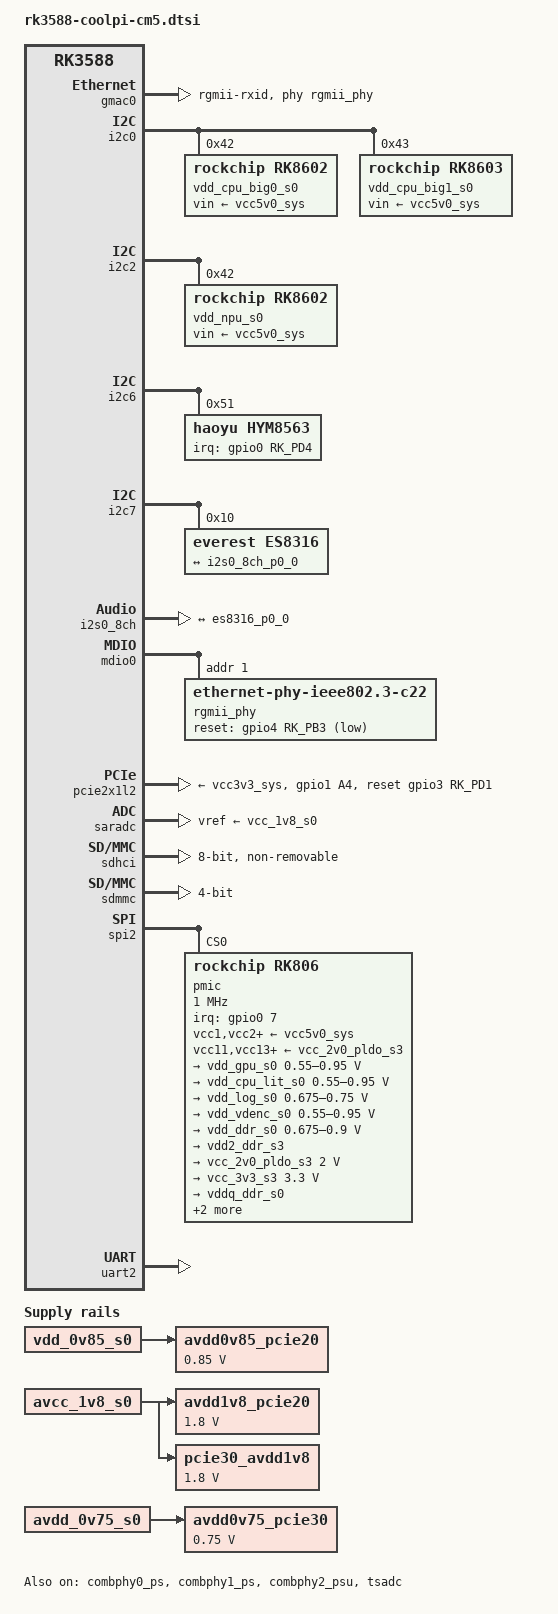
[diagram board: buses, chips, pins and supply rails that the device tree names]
// SPDX-License-Identifier: (GPL-2.0+ OR MIT)
/*
 * Copyright (c) 2023 Rockchip Electronics Co., Ltd.
 *
 */

/dts-v1/;

#include <dt-bindings/gpio/gpio.h>
#include <dt-bindings/pwm/pwm.h>
#include <dt-bindings/pinctrl/rockchip.h>
#include "rk3588.dtsi"

/ {
	compatible = "coolpi,pi-cm5", "rockchip,rk3588";

	aliases {
		mmc0 = &sdhci;
		mmc1 = &sdmmc;
		mmc2 = &sdio;
		serial2 = &uart2;
	};

	analog-sound {
		compatible = "audio-graph-card";
		dais = <&i2s0_8ch_p0>;
		label = "rk3588-es8316";
		routing = "MIC2", "Mic Jack",
			  "Headphones", "HPOL",
			  "Headphones", "HPOR";
		widgets = "Microphone", "Mic Jack",
			  "Headphone", "Headphones";
	};

	chosen {
		stdout-path = "serial2:1500000n8";
	};

	avdd0v85_pcie20: avdd0v85-pcie20-regulator {
		compatible = "regulator-fixed";
		regulator-name = "avdd0v85_pcie20";
		regulator-boot-on;
		regulator-always-on;
		regulator-min-microvolt = <850000>;
		regulator-max-microvolt = <850000>;
		vin-supply = <&vdd_0v85_s0>;
	};

	avdd1v8_pcie20: avdd1v8-pcie20-regulator {
		compatible = "regulator-fixed";
		regulator-name = "avdd1v8_pcie20";
		regulator-boot-on;
		regulator-always-on;
		regulator-min-microvolt = <1800000>;
		regulator-max-microvolt = <1800000>;
		vin-supply = <&avcc_1v8_s0>;
	};

	avdd0v75_pcie30: avdd0v75-pcie30-regulator {
		compatible = "regulator-fixed";
		regulator-name = "avdd0v75_pcie30";
		regulator-boot-on;
		regulator-always-on;
		regulator-min-microvolt = <750000>;
		regulator-max-microvolt = <750000>;
		vin-supply = <&avdd_0v75_s0>;
	};

	pcie30_avdd1v8: avdd1v8-pcie30-regulator {
		compatible = "regulator-fixed";
		regulator-name = "pcie30_avdd1v8";
		regulator-boot-on;
		regulator-always-on;
		regulator-min-microvolt = <1800000>;
		regulator-max-microvolt = <1800000>;
		vin-supply = <&avcc_1v8_s0>;
	};
};

&combphy0_ps {
	status = "okay";
};

&combphy1_ps {
	status = "okay";
};

&combphy2_psu {
	status = "okay";
};

&cpu_b0 {
	cpu-supply = <&vdd_cpu_big0_s0>;
};

&cpu_b1 {
	cpu-supply = <&vdd_cpu_big0_s0>;
};

&cpu_b2 {
	cpu-supply = <&vdd_cpu_big1_s0>;
};

&cpu_b3 {
	cpu-supply = <&vdd_cpu_big1_s0>;
};

&cpu_l0 {
	cpu-supply = <&vdd_cpu_lit_s0>;
};

&cpu_l1 {
	cpu-supply = <&vdd_cpu_lit_s0>;
};

&cpu_l2 {
	cpu-supply = <&vdd_cpu_lit_s0>;
};

&cpu_l3 {
	cpu-supply = <&vdd_cpu_lit_s0>;
};

&gmac0 {
	clock_in_out = "output";
	phy-handle = <&rgmii_phy>;
	phy-mode = "rgmii-rxid";
	pinctrl-0 = <&gmac0_miim
		     &gmac0_tx_bus2
		     &gmac0_rx_bus2
		     &gmac0_rgmii_clk
		     &gmac0_rgmii_bus>;
	pinctrl-names = "default";
	rx_delay = <0x00>;
	tx_delay = <0x43>;
	status = "okay";
};

&i2c0 {
	pinctrl-0 = <&i2c0m2_xfer>;
	status = "okay";

	vdd_cpu_big0_s0: regulator@42 {
		compatible = "rockchip,rk8602";
		reg = <0x42>;
		fcs,suspend-voltage-selector = <1>;
		regulator-name = "vdd_cpu_big0_s0";
		regulator-always-on;
		regulator-boot-on;
		regulator-min-microvolt = <550000>;
		regulator-max-microvolt = <1050000>;
		regulator-ramp-delay = <2300>;
		vin-supply = <&vcc5v0_sys>;

		regulator-state-mem {
			regulator-off-in-suspend;
		};
	};

	vdd_cpu_big1_s0: regulator@43 {
		compatible = "rockchip,rk8603", "rockchip,rk8602";
		reg = <0x43>;
		fcs,suspend-voltage-selector = <1>;
		regulator-name = "vdd_cpu_big1_s0";
		regulator-always-on;
		regulator-boot-on;
		regulator-min-microvolt = <550000>;
		regulator-max-microvolt = <1050000>;
		regulator-ramp-delay = <2300>;
		vin-supply = <&vcc5v0_sys>;

		regulator-state-mem {
			regulator-off-in-suspend;
		};
	};
};

&i2c2 {
	status = "okay";

	vdd_npu_s0: regulator@42 {
		compatible = "rockchip,rk8602";
		reg = <0x42>;
		fcs,suspend-voltage-selector = <1>;
		regulator-name = "vdd_npu_s0";
		regulator-always-on;
		regulator-boot-on;
		regulator-min-microvolt = <550000>;
		regulator-max-microvolt = <950000>;
		regulator-ramp-delay = <2300>;
		vin-supply = <&vcc5v0_sys>;

		regulator-state-mem {
			regulator-off-in-suspend;
		};
	};
};

&i2c6 {
	status = "okay";

	hym8563: rtc@51 {
		compatible = "haoyu,hym8563";
		reg = <0x51>;
		interrupt-parent = <&gpio0>;
		interrupts = <RK_PD4 IRQ_TYPE_LEVEL_LOW>;
		#clock-cells = <0>;
		clock-output-names = "hym8563";
		pinctrl-names = "default";
		pinctrl-0 = <&hym8563_int>;
		wakeup-source;
	};
};

&i2c7 {
	pinctrl-0 = <&i2c7m0_xfer>;
	status = "okay";

	es8316: audio-codec@10 {
		compatible = "everest,es8316";
		reg = <0x10>;
		assigned-clocks = <&cru I2S0_8CH_MCLKOUT>;
		assigned-clock-rates = <12288000>;
		clocks = <&cru I2S0_8CH_MCLKOUT>;
		clock-names = "mclk";
		#sound-dai-cells = <0>;

		port {
			es8316_p0_0: endpoint {
				remote-endpoint = <&i2s0_8ch_p0_0>;
			};
		};
	};
};

&i2s0_8ch {
	pinctrl-0 = <&i2s0_lrck
		     &i2s0_mclk
		     &i2s0_sclk
		     &i2s0_sdi0
		     &i2s0_sdo0>;
	status = "okay";

	i2s0_8ch_p0: port {
		i2s0_8ch_p0_0: endpoint {
			dai-format = "i2s";
			mclk-fs = <256>;
			remote-endpoint = <&es8316_p0_0>;
		};
	};
};

&mdio0 {
	rgmii_phy: ethernet-phy@1 {
		/* YT8531C/H */
		compatible = "ethernet-phy-ieee802.3-c22";
		reg = <0x1>;
		pinctrl-names = "default";
		pinctrl-0 = <&yt8531_rst>;
		reset-assert-us = <20000>;
		reset-deassert-us = <100000>;
		reset-gpios = <&gpio4 RK_PB3 GPIO_ACTIVE_LOW>;
	};
};

/* ethernet */
&pcie2x1l2 {
	reset-gpios = <&gpio3 RK_PD1 GPIO_ACTIVE_HIGH>;
	vpcie3v3-supply = <&vcc3v3_sys>;
	pinctrl-names = "default";
	pinctrl-0 = <&yt6801_isolate>;
	status = "okay";
};

&pinctrl {
	hym8563 {
		hym8563_int: hym8563-int {
			rockchip,pins = <0 RK_PD4 RK_FUNC_GPIO &pcfg_pull_up>;
		};
	};

	yt6801 {
		yt6801_isolate: yt6801-isolate {
			rockchip,pins = <1 RK_PA4 RK_FUNC_GPIO &pcfg_pull_up>;
		};
	};

	yt8531 {
		yt8531_rst: yt8531-rst {
			rockchip,pins = <4 RK_PB3 RK_FUNC_GPIO &pcfg_pull_none>;
		};
	};
};

&saradc {
	vref-supply = <&vcc_1v8_s0>;
	status = "okay";
};

&sdhci {
	bus-width = <8>;
	max-frequency = <200000000>;
	mmc-hs400-1_8v;
	mmc-hs400-enhanced-strobe;
	no-sdio;
	no-sd;
	non-removable;
	status = "okay";
};

&sdmmc {
	bus-width = <4>;
	cap-mmc-highspeed;
	cap-sd-highspeed;
	disable-wp;
	max-frequency = <150000000>;
	no-sdio;
	no-mmc;
	sd-uhs-sdr104;
	vqmmc-supply = <&vccio_sd_s0>;
	status = "okay";
};

&spi2 {
	assigned-clocks = <&cru CLK_SPI2>;
	assigned-clock-rates = <200000000>;
	num-cs = <1>;
	pinctrl-names = "default";
	pinctrl-0 = <&spi2m2_cs0 &spi2m2_pins>;
	status = "okay";

	pmic@0 {
		compatible = "rockchip,rk806";
		reg = <0x0>;
		interrupt-parent = <&gpio0>;
		interrupts = <7 IRQ_TYPE_LEVEL_LOW>;
		gpio-controller;
		#gpio-cells = <2>;
		pinctrl-names = "default";
		pinctrl-0 = <&pmic_pins>, <&rk806_dvs1_null>,
			    <&rk806_dvs2_null>, <&rk806_dvs3_null>;
		spi-max-frequency = <1000000>;
		vcc1-supply = <&vcc5v0_sys>;
		vcc2-supply = <&vcc5v0_sys>;
		vcc3-supply = <&vcc5v0_sys>;
		vcc4-supply = <&vcc5v0_sys>;
		vcc5-supply = <&vcc5v0_sys>;
		vcc6-supply = <&vcc5v0_sys>;
		vcc7-supply = <&vcc5v0_sys>;
		vcc8-supply = <&vcc5v0_sys>;
		vcc9-supply = <&vcc5v0_sys>;
		vcc10-supply = <&vcc5v0_sys>;
		vcc11-supply = <&vcc_2v0_pldo_s3>;
		vcc12-supply = <&vcc5v0_sys>;
		vcc13-supply = <&vcc_2v0_pldo_s3>;
		vcc14-supply = <&vcc_2v0_pldo_s3>;
		vcca-supply = <&vcc5v0_sys>;

		rk806_dvs1_null: dvs1-null-pins {
			pins = "gpio_pwrctrl2";
			function = "pin_fun0";
		};

		rk806_dvs2_null: dvs2-null-pins {
			pins = "gpio_pwrctrl2";
			function = "pin_fun0";
		};

		rk806_dvs3_null: dvs3-null-pins {
			pins = "gpio_pwrctrl3";
			function = "pin_fun0";
		};

		regulators {
			vdd_gpu_s0: vdd_gpu_mem_s0: dcdc-reg1 {
				regulator-boot-on;
				regulator-min-microvolt = <550000>;
				regulator-max-microvolt = <950000>;
				regulator-ramp-delay = <12500>;
				regulator-name = "vdd_gpu_s0";
				regulator-enable-ramp-delay = <400>;

				regulator-state-mem {
					regulator-off-in-suspend;
				};
			};

			vdd_cpu_lit_s0: vdd_cpu_lit_mem_s0: dcdc-reg2 {
				regulator-always-on;
				regulator-boot-on;
				regulator-min-microvolt = <550000>;
				regulator-max-microvolt = <950000>;
				regulator-ramp-delay = <12500>;
				regulator-name = "vdd_cpu_lit_s0";

				regulator-state-mem {
					regulator-off-in-suspend;
				};
			};

			vdd_log_s0: dcdc-reg3 {
				regulator-always-on;
				regulator-boot-on;
				regulator-min-microvolt = <675000>;
				regulator-max-microvolt = <750000>;
				regulator-ramp-delay = <12500>;
				regulator-name = "vdd_log_s0";

				regulator-state-mem {
					regulator-off-in-suspend;
					regulator-suspend-microvolt = <750000>;
				};
			};

			vdd_vdenc_s0: vdd_vdenc_mem_s0: dcdc-reg4 {
				regulator-always-on;
				regulator-boot-on;
				regulator-min-microvolt = <550000>;
				regulator-max-microvolt = <950000>;
				regulator-ramp-delay = <12500>;
				regulator-name = "vdd_vdenc_s0";

				regulator-state-mem {
					regulator-off-in-suspend;
				};
			};

			vdd_ddr_s0: dcdc-reg5 {
				regulator-always-on;
				regulator-boot-on;
				regulator-min-microvolt = <675000>;
				regulator-max-microvolt = <900000>;
				regulator-ramp-delay = <12500>;
				regulator-name = "vdd_ddr_s0";

				regulator-state-mem {
					regulator-off-in-suspend;
					regulator-suspend-microvolt = <850000>;
				};
			};

			vdd2_ddr_s3: dcdc-reg6 {
				regulator-always-on;
				regulator-boot-on;
				regulator-name = "vdd2_ddr_s3";

				regulator-state-mem {
					regulator-on-in-suspend;
				};
			};

			vcc_2v0_pldo_s3: dcdc-reg7 {
				regulator-always-on;
				regulator-boot-on;
				regulator-min-microvolt = <2000000>;
				regulator-max-microvolt = <2000000>;
				regulator-ramp-delay = <12500>;
				regulator-name = "vdd_2v0_pldo_s3";

				regulator-state-mem {
					regulator-on-in-suspend;
					regulator-suspend-microvolt = <2000000>;
				};
			};

			vcc_3v3_s3: dcdc-reg8 {
				regulator-always-on;
				regulator-boot-on;
				regulator-min-microvolt = <3300000>;
				regulator-max-microvolt = <3300000>;
				regulator-name = "vcc_3v3_s3";

				regulator-state-mem {
					regulator-on-in-suspend;
					regulator-suspend-microvolt = <3300000>;
				};
			};

			vddq_ddr_s0: dcdc-reg9 {
				regulator-always-on;
				regulator-boot-on;
				regulator-name = "vddq_ddr_s0";

				regulator-state-mem {
					regulator-off-in-suspend;
				};
			};

			vcc_1v8_s3: dcdc-reg10 {
				regulator-always-on;
				regulator-boot-on;
				regulator-min-microvolt = <1800000>;
				regulator-max-microvolt = <1800000>;
				regulator-name = "vcc_1v8_s3";

				regulator-state-mem {
					regulator-on-in-suspend;
					regulator-suspend-microvolt = <1800000>;
				};
			};

			avcc_1v8_s0: pldo-reg1 {
				regulator-always-on;
				regulator-boot-on;
				regulator-min-microvolt = <1800000>;
				regulator-max-microvolt = <1800000>;
				regulator-name = "avcc_1v8_s0";

				regulator-state-mem {
					regulator-off-in-suspend;
				};
			};

			vcc_1v8_s0: pldo-reg2 {
				regulator-always-on;
				regulator-boot-on;
				regulator-min-microvolt = <1800000>;
				regulator-max-microvolt = <1800000>;
				regulator-name = "vcc_1v8_s0";

				regulator-state-mem {
					regulator-off-in-suspend;
					regulator-suspend-microvolt = <1800000>;
				};
			};

			avdd_1v2_s0: pldo-reg3 {
				regulator-always-on;
				regulator-boot-on;
				regulator-min-microvolt = <1200000>;
				regulator-max-microvolt = <1200000>;
				regulator-name = "avdd_1v2_s0";

				regulator-state-mem {
					regulator-off-in-suspend;
				};
			};

			vcc_3v3_s0: pldo-reg4 {
				regulator-always-on;
				regulator-boot-on;
				regulator-min-microvolt = <3300000>;
				regulator-max-microvolt = <3300000>;
				regulator-ramp-delay = <12500>;
				regulator-name = "vcc_3v3_s0";

				regulator-state-mem {
					regulator-off-in-suspend;
				};
			};

			vccio_sd_s0: pldo-reg5 {
				regulator-always-on;
				regulator-boot-on;
				regulator-min-microvolt = <1800000>;
				regulator-max-microvolt = <3300000>;
				regulator-ramp-delay = <12500>;
				regulator-name = "vccio_sd_s0";

				regulator-state-mem {
					regulator-off-in-suspend;
				};
			};

			pldo6_s3: pldo-reg6 {
				regulator-always-on;
				regulator-boot-on;
				regulator-min-microvolt = <1800000>;
				regulator-max-microvolt = <1800000>;
				regulator-name = "pldo6_s3";

				regulator-state-mem {
					regulator-on-in-suspend;
					regulator-suspend-microvolt = <1800000>;
				};
			};

			vdd_0v75_s3: nldo-reg1 {
				regulator-always-on;
				regulator-boot-on;
				regulator-min-microvolt = <750000>;
				regulator-max-microvolt = <750000>;
				regulator-name = "vdd_0v75_s3";

				regulator-state-mem {
					regulator-on-in-suspend;
					regulator-suspend-microvolt = <750000>;
				};
			};

			vdd_ddr_pll_s0: nldo-reg2 {
				regulator-always-on;
				regulator-boot-on;
				regulator-min-microvolt = <850000>;
				regulator-max-microvolt = <850000>;
				regulator-name = "vdd_ddr_pll_s0";

				regulator-state-mem {
					regulator-off-in-suspend;
					regulator-suspend-microvolt = <850000>;
				};
			};

			avdd_0v75_s0: nldo-reg3 {
				regulator-always-on;
				regulator-boot-on;
				regulator-min-microvolt = <750000>;
				regulator-max-microvolt = <750000>;
				regulator-name = "avdd_0v75_s0";

				regulator-state-mem {
					regulator-off-in-suspend;
				};
			};

			vdd_0v85_s0: nldo-reg4 {
				regulator-always-on;
				regulator-boot-on;
				regulator-min-microvolt = <850000>;
				regulator-max-microvolt = <850000>;
				regulator-name = "vdd_0v85_s0";

				regulator-state-mem {
					regulator-off-in-suspend;
				};
			};

			vdd_0v75_s0: nldo-reg5 {
				regulator-always-on;
				regulator-boot-on;
				regulator-min-microvolt = <750000>;
				regulator-max-microvolt = <750000>;
				regulator-name = "vdd_0v75_s0";

				regulator-state-mem {
					regulator-off-in-suspend;
				};
			};
		};
	};
};

&tsadc {
	status = "okay";
};

&uart2 {
	pinctrl-0 = <&uart2m0_xfer>;
	status = "okay";
};
